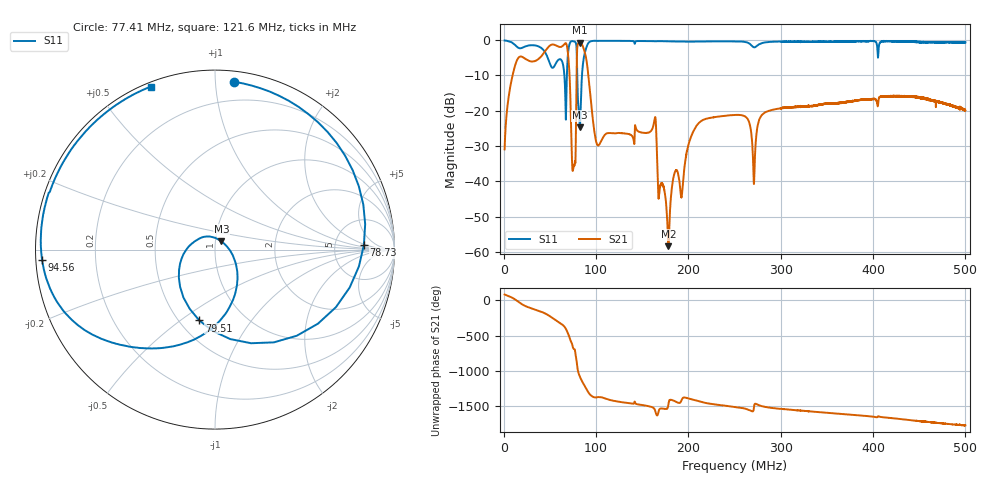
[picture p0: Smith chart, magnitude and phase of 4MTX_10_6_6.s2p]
! NanoVNA-App
! Date: 2026-08-18 21:35:20
! Start: 1MHz Stop: 500MHz Points: 6401
! S-Parameter data: F S11 S21 S12 S22
# Hz S RI R 50
!  Frequency  S11_Real  S11_Imag  S21_Real  S21_Imag  S12_Real  S12_Imag  S22_Real  S22_Imag
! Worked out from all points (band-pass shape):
!   6401 points, 1 MHz to 500 MHz, reference 50 ohm
!   highest |S21| = -0.68 dB at 82.48 MHz (marker M1); lowest = -58.4 dB at 178.5 MHz (marker M2)
!   |S21| within 3 dB of the highest: 43.45 MHz to 69.57 MHz (26.11 MHz wide, 46.2 % of centre); 79.38 MHz to 88.04 MHz (8.661 MHz wide, 10.3 % of centre)
!   lowest |S11| = -24.7 dB at 82.56 MHz (marker M3), VSWR 1.12, Z = 53.5 + j4.91 ohm
!   |S11| at or under -10 dB: 65.72 MHz to 68.41 MHz (2.691 MHz wide, 4.01 % of centre); 79.68 MHz to 84.78 MHz (5.107 MHz wide, 6.21 % of centre)
!   S12 and S22 are empty: the file has one direction only
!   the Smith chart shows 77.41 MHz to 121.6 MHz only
!   S11 on the Smith chart (normalised r, x): 77.41 MHz: 0.07, +1.12; 78.73 MHz: 10, +2; 79.51 MHz: 0.62, -0.59; 94.56 MHz: 0.02, -0.03; 121.6 MHz: 0.02, +0.68
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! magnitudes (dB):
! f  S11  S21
! 1 MHz  -0.1  -30.9
! 14.8 MHz  -2.0  -5.5
! 52.93 MHz  -7.8  -1.2
! 67.9 MHz  -15.3  -1.1
! 75.23 MHz  -0.3  -36.5
! 77.41 MHz  -0.5  -34.6
! 78.73 MHz  -1.6  -13.5
! 79.51 MHz  -7.9  -2.8
! 82.48 MHz  -24.7  -0.7
! 82.56 MHz  -24.7  -0.7
! 84.19 MHz  -12.8  -0.9
! 94.56 MHz  -0.3  -17.7
! 121.6 MHz  -0.2  -26.4
! 162.8 MHz  -0.3  -23.4
! 167.4 MHz  -0.3  -43.9
! 178.5 MHz  -0.3  -58.4
! 207.9 MHz  -0.4  -24.7
! 250.5 MHz  -0.4  -21.2
! 271 MHz  -2.0  -40.8
! 333.7 MHz  -0.5  -18.8
! 416.9 MHz  -0.3  -15.9
! 500 MHz  -0.6  -19.9
